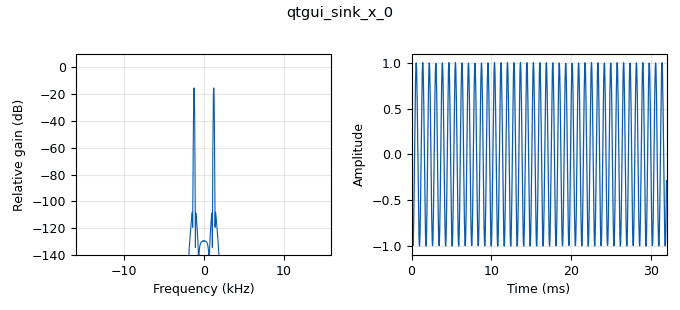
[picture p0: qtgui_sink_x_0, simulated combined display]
options:
  parameters:
    generate_options: qt_gui
    id: untitled
    output_language: python
    title: Not titled yet
  states: {}

blocks:
- name: samp_rate
  id: variable
  parameters:
    value: '32000'
  states: {}
- name: analog_sig_source_x_0
  id: analog_sig_source_x
  parameters:
    amp: 10e3
    freq: '0.1'
    offset: '0'
    phase: '0'
    samp_rate: samp_rate
    type: complex
    waveform: analog.GR_SAW_WAVE
  states: {}
- name: audio_sink_0
  id: audio_sink
  parameters:
    device_name: pulse
    samp_rate: samp_rate
  states: {}
- name: audio_source_0
  id: audio_source
  parameters:
    device_name: pulse
    samp_rate: samp_rate
  states: {}
- name: blocks_complex_to_real_0
  id: blocks_complex_to_real
  parameters: {}
  states: {}
- name: blocks_throttle2_0
  id: blocks_throttle2
  parameters:
    samples_per_second: samp_rate
    type: float
  states: {}
- name: blocks_vco_f_0
  id: blocks_vco_f
  parameters:
    amplitude: '1'
    samp_rate: samp_rate
    sensitivity: 2 * 3.14
  states: {}
- name: qtgui_sink_x_0
  id: qtgui_sink_x
  parameters:
    bw: samp_rate
    fc: '0'
    fftsize: '1024'
    type: float
  states: {}
- name: qtgui_sink_x_1
  id: qtgui_sink_x
  parameters:
    bw: samp_rate
    fc: '0'
    fftsize: '1024'
    type: float
  states: {}

connections:
- [analog_sig_source_x_0, '0', blocks_complex_to_real_0, '0']
- [audio_source_0, '0', qtgui_sink_x_1, '0']
- [blocks_complex_to_real_0, '0', blocks_throttle2_0, '0']
- [blocks_throttle2_0, '0', blocks_vco_f_0, '0']
- [blocks_vco_f_0, '0', audio_sink_0, '0']
- [blocks_vco_f_0, '0', qtgui_sink_x_0, '0']

metadata:
  file_format: 1
  grc_version: 3.10.12.0
